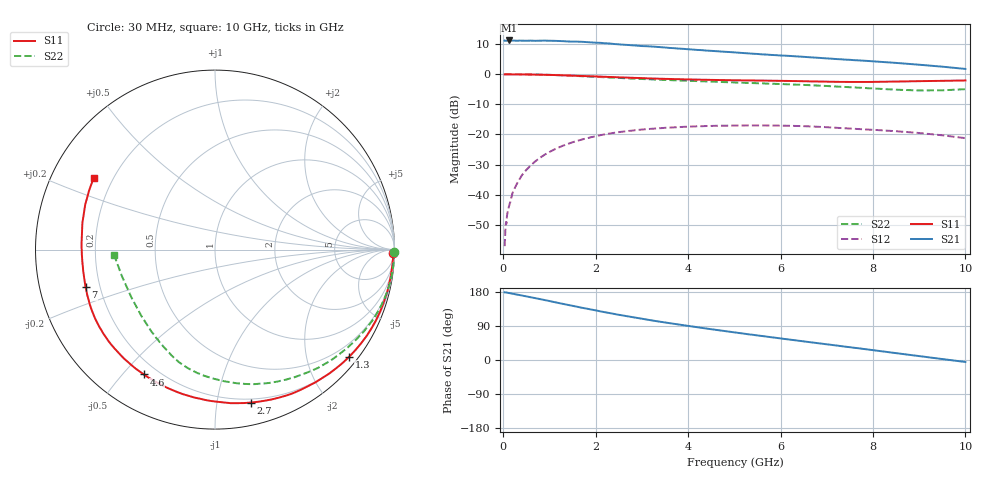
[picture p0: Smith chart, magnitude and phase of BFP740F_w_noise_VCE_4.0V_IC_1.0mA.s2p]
! Infineon Technologies  Discrete & RF Semiconductors
! BFP740F
! VCE =  4.0 V,  IC =  1.0 mA
! Common Emitter S-Parameters:  Oct 2012
# GHz  S  MA  R  50
!  f  S11  S21  S12  S22
! GHz  MAG  ANG  MAG  ANG  MAG  ANG  MAG  ANG
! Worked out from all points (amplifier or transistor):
!   99 points, 30 MHz to 10 GHz, reference 50 ohm
!   highest |S21| = 11.2 dB at 120 MHz (marker M1)
!   |S21| within 3 dB of that: start of sweep to 4.084 GHz
!   unconditionally stable (mu >= 1): nowhere
!   at 350 MHz: K = 0.00, MSG = 23.0 dB, |S12| = -34.9 dB
!   at 3.5 GHz: K = 0.20, MSG = 13.3 dB, |S12| = -17.8 dB
!   at 10 GHz: K = 0.94, MSG = 11.5 dB, |S12| = -21.2 dB
!   lowest NFmin = 0.44 dB at 450 MHz
!   S11 on the Smith chart (normalised r, x): 30 MHz: open; 1.3 GHz: 0.20, -2.84; 2.7 GHz: 0.17, -1.25; 4.6 GHz: 0.15, -0.57; 7 GHz: 0.15, -0.14; 10 GHz: 0.13, +0.27
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0.03  0.9922 -1.0  3.598 178.6  0.0014 87.8  0.9992 -0.7
0.05  0.9927 -1.4  3.577 178.5  0.003 85.1  0.9986 -1.0
0.06  0.9917 -1.8  3.591 178.3  0.0035 73.8  0.9989 -1.2
0.07  0.9923 -2.0  3.582 178.1  0.0033 90.3  0.9992 -1.4
0.08  0.9927 -2.4  3.599 177.9  0.0044 75.4  0.9983 -1.6
0.12  0.992 -3.6  3.623 176.9  0.0063 85.3  0.9988 -2.4
0.25  0.9906 -7.4  3.599 173.8  0.0129 84.4  0.9972 -5.0
0.5  0.987 -14.8  3.582 168.0  0.0258 79.5  0.9925 -10.1
0.9  0.9758 -26.8  3.599 158.1  0.0463 70.8  0.9779 -18.3
1.3  0.9567 -38.6  3.527 147.9  0.0654 61.6  0.9539 -26.5
1.7  0.9321 -50.2  3.443 137.9  0.0822 52.8  0.9245 -34.7
2.1  0.9106 -61.5  3.309 128.4  0.0971 44.3  0.8952 -43.1
2.7  0.875 -76.9  3.049 115.1  0.1139 32.6  0.8509 -54.4
3.4  0.8395 -93.7  2.806 100.9  0.127 20.3  0.8075 -66.2
4  0.8176 -106.9  2.59 90.0  0.1346 11.0  0.7773 -74.7
4.6  0.8007 -119.7  2.407 79.6  0.139 2.3  0.747 -82.6
5.1  0.791 -129.9  2.267 71.3  0.1406 -4.7  0.7236 -89.2
6.1  0.7725 -148.2  2.025 55.3  0.1395 -18.1  0.6812 -101.8
6.7  0.7573 -158.6  1.891 46.1  0.1351 -26.2  0.6519 -109.1
7  0.7506 -163.9  1.825 41.4  0.1318 -30.0  0.6363 -112.6
8.5  0.7536 168.7  1.537 18.1  0.113 -45.8  0.5522 -138.0
10  0.7855 149.4  1.221 -5.2  0.0868 -61.5  0.5632 -177.0
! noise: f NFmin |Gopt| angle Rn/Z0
0.45  0.44  0.65  10  0.5
0.9  0.53  0.66  18  0.46
1.5  0.68  0.66  29  0.43
1.9  0.79  0.62  40  0.44
2.4  0.93  0.59  48  0.44
3.5  1.24  0.54  72  0.41
5.5  1.77  0.47  117  0.31
10  2.79  0.61  -140  0.14
